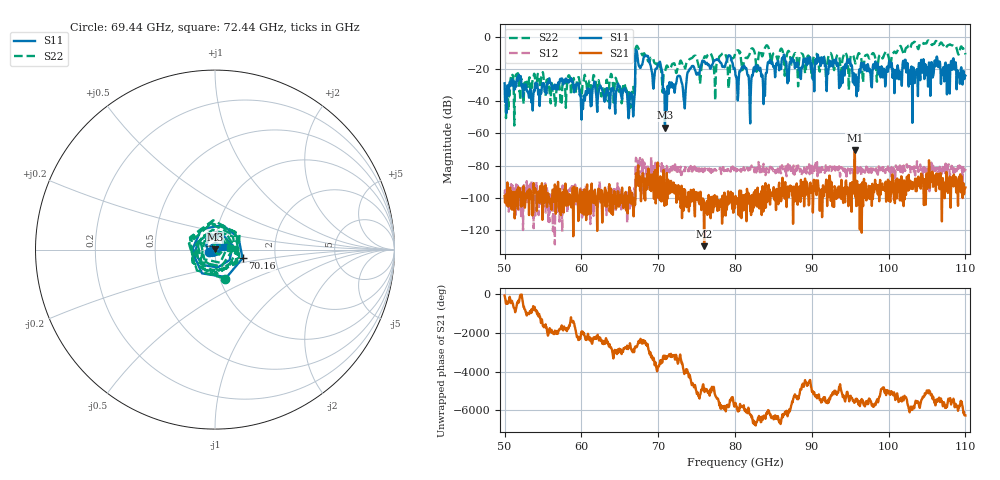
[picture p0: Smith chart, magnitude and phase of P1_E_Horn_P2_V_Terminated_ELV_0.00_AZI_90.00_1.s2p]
! 11/26/2026 10:26:26 AM
! C:\ANRITSUVNA\TEMP\TEMP.S2P
! CHANNEL.1
! TR.MEASUREMENT
! RAW.DATA
# HZ S RI R 50.0
! FREQ.HZ  S11RE  S11IM  S21RE  S21IM  S12RE  S12IM  S22RE  S22IM
!; PortSelection: Port_12
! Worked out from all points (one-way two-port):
!   1001 points, 50 GHz to 110 GHz, reference 50 ohm
!   highest |S21| = -70.32 dB at 95.6 GHz (marker M1); lowest = -130.0 dB at 75.98 GHz (marker M2)
!   lowest |S11| = -56.6 dB at 70.88 GHz (marker M3), VSWR 1.00, Z = 50 + j0.148 ohm
!   |S11| at or under -10 dB: start of sweep to 67.04 GHz; 67.25 GHz to end of sweep
!   |S22| runs from -55.2 to -2.4 dB; largest |S21 - S12| = 0.0005
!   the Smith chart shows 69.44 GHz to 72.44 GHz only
!   S11 on the Smith chart (normalised r, x): 69.44 GHz: 0.93, -0.02; 70.16 GHz: 1.35, -0.13; 72.44 GHz: 1.10, +0.03
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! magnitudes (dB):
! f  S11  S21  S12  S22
! 50 GHz  -29.0  -98.9  -97.6  -34.2
! 58.46 GHz  -27.1  -97.7  -95.4  -24.5
! 60.02 GHz  -51.5  -109.3  -101.7  -37.7
! 66.32 GHz  -36.5  -103.0  -105.8  -42.2
! 67.34 GHz  -14.0  -83.3  -77.1  -6.5
! 69.44 GHz  -28.6  -100.6  -82.3  -15.4
! 70.04 GHz  -16.9  -90.0  -80.4  -15.9
! 70.16 GHz  -15.9  -91.0  -81.3  -18.0
! 70.88 GHz  -56.6  -94.4  -82.3  -21.5
! 72.44 GHz  -26.0  -93.1  -83.1  -21.3
! 73.4 GHz  -39.9  -101.2  -82.6  -17.7
! 74.12 GHz  -19.9  -105.0  -81.5  -13.8
! 75.98 GHz  -15.4  -130.0  -82.3  -13.0
! 79.28 GHz  -11.8  -103.0  -82.7  -24.4
! 80 GHz  -20.8  -106.3  -82.3  -11.0
! 81.98 GHz  -53.8  -108.0  -82.5  -9.7
! 84.56 GHz  -14.4  -104.2  -80.8  -11.3
! 90.02 GHz  -16.7  -92.9  -80.1  -25.4
! 94.88 GHz  -14.1  -97.0  -82.3  -25.2
! 95.6 GHz  -30.1  -70.3  -72.9  -14.9
! 100 GHz  -16.0  -102.0  -82.7  -13.4
! 110 GHz  -24.3  -93.6  -82.0  -11.1
